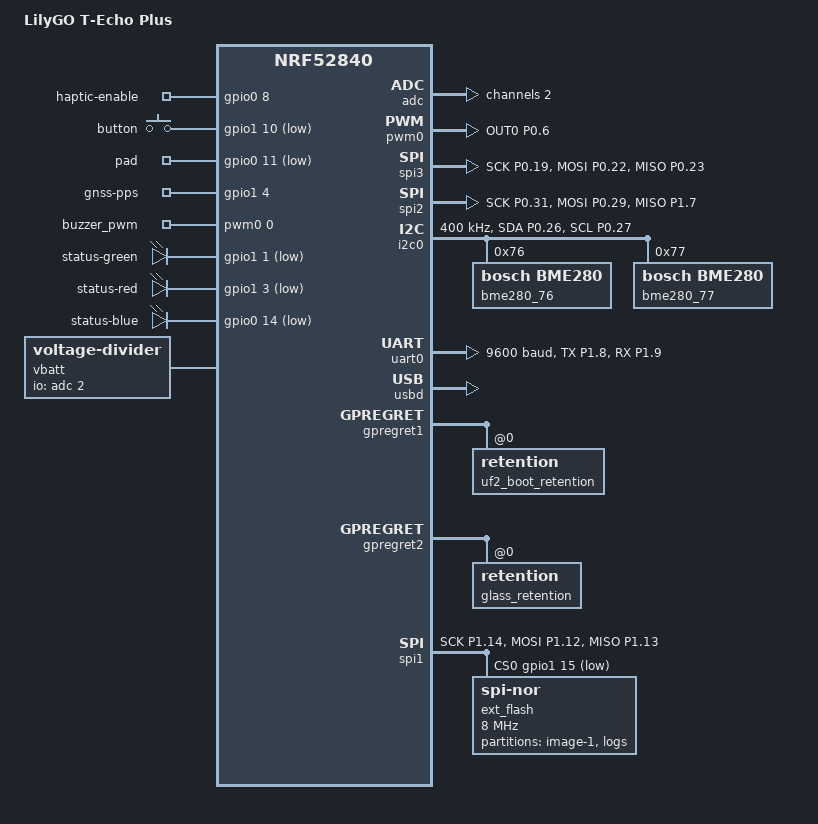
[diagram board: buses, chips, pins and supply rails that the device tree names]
/dts-v1/;
#include <nordic/nrf52840_qiaa.dtsi>
#include <zephyr/dt-bindings/adc/adc.h>
#include <zephyr/dt-bindings/adc/nrf-saadc.h>
#include <zephyr/dt-bindings/gpio/gpio.h>
#include <zephyr/dt-bindings/i2c/i2c.h>
#include <zephyr/dt-bindings/regulator/nrf5x.h>


/ {
	model = "LilyGO T-Echo Plus";
	compatible = "lilygo,t-echo-plus";

	chosen {
		zephyr,sram = &sram0;
		zephyr,flash = &flash0;
		zephyr,code-partition = &slot0_partition;
		zephyr,console = &cdc_acm_uart0;
		zephyr,shell-uart = &cdc_acm_uart0;
	};

	aliases {
		radio-spi = &spi3;
		epd-spi = &spi2;
		gnss-uart = &uart0;
		sensor-i2c = &i2c0;
		buzzer = &buzzer_pwm;
		haptic-enable = &haptic_enable_gpio;
		button = &button_gpio;
		pad = &pad_gpio;
		gnss-pps = &gnss_pps_gpio;
		led-green = &led_green;
		led-red = &led_red;
		led-blue = &led_blue;
		gnss-enable = &gnss_enable_gpio;
		gnss-reset = &gnss_reset_gpio;
		peripheral-rail = &peripheral_rail_gpio;
		aux-rail = &aux_rail_gpio;
		flash-wp = &flash_wp_gpio;
		flash-hold = &flash_hold_gpio;
		radio-reset = &radio_reset_gpio;
		watchdog0 = &wdt0;
	};

	board_gpios {
		compatible = "gpio-keys";

		/* Plus-only haptic driver enable (P0.08). */
		haptic_enable_gpio: haptic_enable {
			gpios = <&gpio0 8 GPIO_ACTIVE_HIGH>;
			label = "haptic-enable";
		};

		/* Main button (P1.10), active-low with a pull-up. */
		button_gpio: button {
			gpios = <&gpio1 10 (GPIO_ACTIVE_LOW | GPIO_PULL_UP)>;
			label = "button";
		};

		/* Capacitive touch pad (P0.11), external pull-up, touched reads low.
		 * SoftRF iomap/LilyGO_TEcho.h:68 names the pin and nRF52.cpp:4937
		 * reads it as a plain input; nobody has read it on our own unit. Held
		 * through a two-second press it makes the power-off a stow, and that
		 * is the whole of what it can do. */
		pad_gpio: pad {
			gpios = <&gpio0 11 GPIO_ACTIVE_LOW>;
			label = "pad";
		};

		/* L76K 1 PPS (P1.04): the slot clock's only hardware anchor. */
		gnss_pps_gpio: gnss_pps {
			gpios = <&gpio1 4 GPIO_ACTIVE_HIGH>;
			label = "gnss-pps";
		};
	};

	/*
	 * Every pin that switches power or holds a part in reset, in one place, so
	 * board.c and the shutdown path read the same numbers.
	 *
	 * `status = "disabled"` is load-bearing and not a mistake: this node is a
	 * pin map, never a device. The gpio-keys binding is borrowed because it is
	 * the one upstream binding that declares a plain `gpios` property, and its
	 * driver (CONFIG_INPUT_GPIO_KEYS) walks DT_INST_FOREACH_STATUS_OKAY. Left
	 * enabled, the day a product turns CONFIG_INPUT on, that driver would
	 * reconfigure a rail enable as an interrupt input at POST_KERNEL and the
	 * board would switch its own peripherals off while booting. Disabled, the
	 * DT_NODELABEL/GPIO_DT_SPEC macros still resolve and no driver ever binds.
	 */
	board_power_gpios {
		compatible = "gpio-keys";
		status = "disabled";

		/* PIN_POWER_EN (P0.12): e-paper, external flash, GNSS and the sensor
		 * bus on REV_2 and the Plus. SoftRF iomap/LilyGO_TEcho.h:80-81. */
		peripheral_rail_gpio: peripheral_rail {
			gpios = <&gpio0 12 GPIO_ACTIVE_HIGH>;
			label = "peripheral-rail";
		};

		/* P0.13, the REV_2 RF rail (SoftRF iomap/LilyGO_TEcho.h:82-83). Both
		 * SoftRF and the moshe-braner fork leave this pin alone on REV_2 - they
		 * never raise it, so they have nothing to drop. We raise it, so we own
		 * dropping it. */
		aux_rail_gpio: aux_rail {
			gpios = <&gpio0 13 GPIO_ACTIVE_HIGH>;
			label = "aux-rail";
		};

		/* Flash WP# (IO2) and HOLD# (IO3) in single-line mode: real inputs, and
		 * a floating one write-protects the chip or stalls a transfer. */
		flash_wp_gpio: flash_wp {
			gpios = <&gpio0 7 GPIO_ACTIVE_HIGH>;
			label = "flash-wp";
		};

		flash_hold_gpio: flash_hold {
			gpios = <&gpio0 5 GPIO_ACTIVE_HIGH>;
			label = "flash-hold";
		};

		/* L76K wake (P1.02) and active-low reset (P1.05). SoftRF drives both
		 * high for the Plus (platform/nRF52.cpp:1589-1593); meshcore's
		 * lilygo_techo variant.h:139-140 has the same pins with
		 * PIN_GPS_RESET_ACTIVE=LOW. */
		gnss_enable_gpio: gnss_enable {
			gpios = <&gpio1 2 GPIO_ACTIVE_HIGH>;
			label = "gnss-enable";
		};

		gnss_reset_gpio: gnss_reset {
			gpios = <&gpio1 5 GPIO_ACTIVE_LOW>;
			label = "gnss-reset";
		};

		/* SX1262 NRESET (P0.25). The radio driver drives it through io::Gpio
		 * with a flat pin number from pins.h; it is named here because the
		 * shutdown path is the one other caller and it has no board header. */
		radio_reset_gpio: radio_reset {
			gpios = <&gpio0 25 GPIO_ACTIVE_LOW>;
			label = "radio-reset";
		};
	};

	/*
	 * The pins board.c has to ask a question BEFORE any bus driver claims them,
	 * and the only place on this SoC where that is possible: the e-paper's
	 * fingerprint needs its single data line reversed (the SPIM owns MOSI and SCK
	 * from POST_KERNEL onwards, and this board's SPI MISO is a placeholder), and
	 * the buzzer pin has to be read high-Z against a pull-up before the PWM
	 * peripheral starts driving it.
	 *
	 * `status = "disabled"` for the same load-bearing reason as board_power_gpios
	 * above: this is a pin map, never a device.
	 */
	board_probe_gpios {
		compatible = "gpio-keys";
		status = "disabled";

		/* SSD1681 control lines. DC and RST are plain GPIOs in normal
		 * operation too; MOSI and SCK are bit-banged for the fingerprint read
		 * and belong to spi2's pinctrl for everything else. */
		epd_dc_gpio: epd_dc {
			gpios = <&gpio0 28 GPIO_ACTIVE_HIGH>;
			label = "epd-dc";
		};

		epd_reset_gpio: epd_reset {
			gpios = <&gpio0 2 GPIO_ACTIVE_HIGH>;
			label = "epd-reset";
		};

		epd_busy_gpio: epd_busy {
			gpios = <&gpio0 3 GPIO_ACTIVE_HIGH>;
			label = "epd-busy";
		};

		epd_mosi_gpio: epd_mosi {
			gpios = <&gpio0 29 GPIO_ACTIVE_HIGH>;
			label = "epd-mosi";
		};

		epd_sck_gpio: epd_sck {
			gpios = <&gpio0 31 GPIO_ACTIVE_HIGH>;
			label = "epd-sck";
		};

		/* The same P0.06 the buzzer PWM drives. Read once, before pwm0 binds. */
		buzzer_sense_gpio: buzzer_sense {
			gpios = <&gpio0 6 GPIO_ACTIVE_HIGH>;
			label = "buzzer-sense";
		};
	};

	/*
	 * The part control lines the drivers drive themselves, through io::Gpio and a
	 * flat pin number rather than a gpio_dt_spec. They are named here so that the
	 * board says the whole of its wiring, and so the static_assert block at the
	 * foot of pins.h can hold the two copies of these three numbers together.
	 *
	 * `status = "disabled"` for the same load-bearing reason as the two nodes
	 * above: a pin map, never a device.
	 *
	 * One pin is deliberately not here, because nothing drives it and a node is a
	 * claim that something might: P0.18, the button LilyGO labels reset. It is the
	 * SoC's nRESET and cannot be read at all: the factory UF2 bootloader is built
	 * with CONFIG_GPIO_AS_PINRESET (Adafruit_nRF52_Bootloader Makefile:354), so its
	 * SystemInit writes UICR->PSELRESET = 18 and resets whenever that word is not
	 * already programmed (nrfx mdk system_nrf52.c:341-355). Erasing the UICR over
	 * SWD buys one boot. Meshtastic's variants/nrf52840/t-echo/variant.h:63 calls
	 * it a regular GPIO, and their own bootloader fork sets the same flag
	 * (Makefile:254); do not copy that. A second is P0.21, which LilyGO's README
	 * pin table wires to the SX1262's DIO3: the part drives that line itself to
	 * power its TCXO (hardware/parts/sx1262/sx1262.cpp:89-96), so the SoC end
	 * stays an input. meshcore's variant.cpp:30-31 drives it high; do not copy that.
	 */
	board_part_gpios {
		compatible = "gpio-keys";
		status = "disabled";

		/* SX1262 BUSY (P0.17). High while the part is working, which is what
		 * wait_busy_low() spins on before every command. */
		radio_busy_gpio: radio_busy {
			gpios = <&gpio0 17 GPIO_ACTIVE_HIGH>;
			label = "radio-busy";
		};

		/* SX1262 DIO1 (P0.20), the radio's one interrupt line. Read as a level:
		 * a dwell is driven by a deadline, not by an edge. */
		radio_dio1_gpio: radio_dio1 {
			gpios = <&gpio0 20 GPIO_ACTIVE_HIGH>;
			label = "radio-dio1";
		};

		/* P1.11 is the e-paper's front light (SoftRF iomap/LilyGO_TEcho.h:78
		 * SOC_GPIO_PIN_EPD_BLGT), not a panel enable: nothing raises it at boot and
		 * the glass refreshes all the same. */
		epd_backlight_gpio: epd_backlight {
			gpios = <&gpio1 11 GPIO_ACTIVE_HIGH>;
			label = "epd-backlight";
		};
	};

	pwmleds {
		compatible = "pwm-leds";
		buzzer_pwm: buzzer_pwm {
			pwms = <&pwm0 0 PWM_HZ(2000) PWM_POLARITY_NORMAL>;
		};
	};

	/*
	 * The RGB status LEDs. Until now the only `pwmleds` node on this board was
	 * the buzzer and nothing named an LED anywhere, which meant an off device and
	 * a running device looked identical: e-paper holds its last image with the
	 * rails down, which is why the wordmark is painted before power off. What
	 * each state looks like is one table, core/indication/lamp.h.
	 *
	 * REV_2 / Plus map, active-low, and NOT the map on the older T-Echo, which is
	 * the trap here. SoftRF platform/iomap/LilyGO_TEcho.h:22-24 gives REV_2 GREEN
	 * P1.01, RED P1.03, BLUE P0.14, and platform/nRF52.cpp:1595-1601 applies
	 * exactly those three under the one case label that covers
	 * NRF52_LILYGO_TECHO_REV_2 and NRF52_LILYGO_TECHO_PLUS. nrf52-ogn-tracker
	 * variants/t_echo/variant.h:20-24 independently gives 35u = P1.03, commented
	 * "red LED on common T-Echo rev2 boards", with LED_STATE_ON 0.
	 *
	 * meshcore variants/lilygo_techo/variant.h:77-79 disagrees: 13 / 14 / 15. That
	 * is SoftRF's REV_1 map (iomap:19-21), so that variant targets the older board
	 * - and P0.13 is this board's aux 3V3 rail (aux_rail above, iomap:82-83), so
	 * the two cannot both be true of a Plus. Every other pin on this board is
	 * already the REV_2 map, which is the tie-break.
	 *
	 * Unread on our own unit, but LilyGO's README pin table gives exactly these
	 * three (Red P1.3, Blue P0.14, Green P1.1), so the map is vendor-documented
	 * and not SoftRF's alone. If a bench says otherwise, these three numbers are the
	 * only place to change - nothing above the board knows a pin.
	 *
	 * LED_STATE_ON is LOW on every nRF52 T-Echo in both references (SoftRF
	 * platform/nRF52.h:53, nrf52-ogn-tracker variants/t_echo/variant.h:23), which
	 * is the GPIO_ACTIVE_LOW below, and why the way down releases these lines
	 * instead of leaving them driven into a rail that has gone (hal/indicator.h
	 * park()).
	 *
	 * `gpio-leds`, NOT the disabled `gpio-keys` trick that board_power_gpios,
	 * board_probe_gpios and board_part_gpios above use, and the difference is
	 * worth stating because the
	 * two look interchangeable. That trick exists because there is no upstream
	 * binding for "a list of pins that is not a device", so gpio-keys is borrowed
	 * and then disabled to keep CONFIG_INPUT_GPIO_KEYS from binding a rail enable
	 * as an interrupt input. Here there IS an exact upstream binding and these ARE
	 * LEDs, so the node is left enabled: with no CONFIG_LED_GPIO in the image
	 * nothing binds and GPIO_DT_SPEC_GET_OR still resolves, and if some later
	 * product does enable the LED subsystem, led_gpio_init configures each pin
	 * GPIO_OUTPUT_INACTIVE, which on an active-low LED is off. Either way the
	 * board does not switch anything on behind our back, which is the property the
	 * disabled nodes above had to buy the hard way.
	 *
	 * These sit on the P0.12 peripheral rail - SoftRF's comment on that pin reads
	 * "Power: EINK, RGB, CN1" - so they go dark on their own when the rail drops.
	 * That is not licence to leave them driven: see hal/indicator.h park().
	 */
	leds {
		compatible = "gpio-leds";

		led_green: led_green {
			gpios = <&gpio1 1 GPIO_ACTIVE_LOW>;
			label = "status-green";
		};

		led_red: led_red {
			gpios = <&gpio1 3 GPIO_ACTIVE_LOW>;
			label = "status-red";
		};

		led_blue: led_blue {
			gpios = <&gpio0 14 GPIO_ACTIVE_LOW>;
			label = "status-blue";
		};
	};

	/*
	 * Battery sense: the pack sits behind a 100K + 100K divider on P0.04
	 * (AIN2), so the ADC sees half the cell voltage. Ratio lives here, not in
	 * code: it is a fact about the board, and the divider driver scales the
	 * reading back with it.
	 * sources: SoftRF platform/nRF52.h SOC_GPIO_PIN_BATTERY = P0.04 with
	 * SOC_ADC_VOLTAGE_DIV 2.0, and Meshtastic's t-echo variant (same net).
	 */
	vbatt: vbatt {
		compatible = "voltage-divider";
		io-channels = <&adc 2>;
		output-ohms = <100000>;
		full-ohms = <200000>;
	};
};

/*
 * SAADC for the battery divider. 0.6 V internal reference at gain 1/6 gives a
 * 3.6 V full scale, against the 2.1 V the divider presents at full charge; 40 us
 * of acquisition is what a 100K source impedance needs to settle.
 */
&adc {
	status = "okay";
	#address-cells = <1>;
	#size-cells = <0>;

	channel@2 {
		reg = <2>;
		zephyr,gain = "ADC_GAIN_1_6";
		zephyr,reference = "ADC_REF_INTERNAL";
		zephyr,acquisition-time = <ADC_ACQ_TIME(ADC_ACQ_TIME_MICROSECONDS, 40)>;
		zephyr,input-positive = <NRF_SAADC_AIN2>;
		zephyr,resolution = <12>;
	};
};

&pinctrl {
	/* Radio SPI (SX1262): SCK P0.19, MOSI P0.22, MISO P0.23. Confirmed. */
	spi3_default: spi3_default {
		group1 {
			psels = <NRF_PSEL(SPIM_SCK, 0, 19)>,
				<NRF_PSEL(SPIM_MOSI, 0, 22)>,
				<NRF_PSEL(SPIM_MISO, 0, 23)>;
		};
	};
	spi3_sleep: spi3_sleep {
		group1 {
			psels = <NRF_PSEL(SPIM_SCK, 0, 19)>,
				<NRF_PSEL(SPIM_MOSI, 0, 22)>,
				<NRF_PSEL(SPIM_MISO, 0, 23)>;
			low-power-enable;
		};
	};

	/*
	 * E-paper SPI (SSD1681): SCK P0.31, MOSI P0.29, MISO P1.07.
	 *
	 * P1.07 is a placeholder MISO: the panel is write-only. It is P1.07 and
	 * not P0.07 on purpose: P0.07 belongs to the external flash (IO2/WP#, see
	 * board.c), and Meshtastic's t-echo-plus variant.h:113 picks P1.07 for the
	 * same reason.
	 */
	spi2_default: spi2_default {
		group1 {
			psels = <NRF_PSEL(SPIM_SCK, 0, 31)>,
				<NRF_PSEL(SPIM_MOSI, 0, 29)>,
				<NRF_PSEL(SPIM_MISO, 1, 7)>;
		};
	};
	spi2_sleep: spi2_sleep {
		group1 {
			psels = <NRF_PSEL(SPIM_SCK, 0, 31)>,
				<NRF_PSEL(SPIM_MOSI, 0, 29)>,
				<NRF_PSEL(SPIM_MISO, 1, 7)>;
			low-power-enable;
		};
	};

	/* External flash, on SPIM1 rather than the QSPI peripheral - see the node
	 * below for why. Same six lines as the QSPI wiring:
	 *   SCK P1.14  CS P1.15  IO0/MOSI P1.12  IO1/MISO P1.13  IO2 P0.07  IO3 P0.05
	 * IO2/IO3 are WP# and HOLD# in single-line mode and are driven high by
	 * board.c, not by pinctrl, because they must be high before MCUboot's flash
	 * driver runs.
	 * sources: Meshtastic t-echo-plus variant.h:70-75, nrf52-ogn-tracker
	 * variants/t_echo/variant.h:56-61, and SoftRF iomap/LilyGO_TEcho.h:88-93.
	 */
	spi1_default: spi1_default {
		group1 {
			psels = <NRF_PSEL(SPIM_SCK, 1, 14)>,
				<NRF_PSEL(SPIM_MOSI, 1, 12)>,
				<NRF_PSEL(SPIM_MISO, 1, 13)>;
		};
	};
	spi1_sleep: spi1_sleep {
		group1 {
			psels = <NRF_PSEL(SPIM_SCK, 1, 14)>,
				<NRF_PSEL(SPIM_MOSI, 1, 12)>,
				<NRF_PSEL(SPIM_MISO, 1, 13)>;
			low-power-enable;
		};
	};

	/* GNSS UART (L76K): nRF TX P1.08 -> GPS RX, nRF RX P1.09 <- GPS TX. Confirmed. */
	uart0_default: uart0_default {
		group1 {
			psels = <NRF_PSEL(UART_TX, 1, 8)>;
		};
		group2 {
			psels = <NRF_PSEL(UART_RX, 1, 9)>;
			bias-pull-up;
		};
	};
	uart0_sleep: uart0_sleep {
		group1 {
			psels = <NRF_PSEL(UART_TX, 1, 8)>, <NRF_PSEL(UART_RX, 1, 9)>;
			low-power-enable;
		};
	};

	/* Sensor I2C (BME280 @ 0x76): SDA P0.26, SCL P0.27.
	 * TWIM0 shares its peripheral ID with SPIM0/SPIS0, which this board does
	 * not use (the radio is on spi3, the panel on spi2), so i2c0 is free. */
	i2c0_default: i2c0_default {
		group1 {
			psels = <NRF_PSEL(TWIM_SDA, 0, 26)>, <NRF_PSEL(TWIM_SCL, 0, 27)>;
		};
	};
	i2c0_sleep: i2c0_sleep {
		group1 {
			psels = <NRF_PSEL(TWIM_SDA, 0, 26)>, <NRF_PSEL(TWIM_SCL, 0, 27)>;
			low-power-enable;
		};
	};

	/* Buzzer PWM on P0.06 (Meshtastic t-echo-plus PIN_BUZZER). Plus-only. */
	pwm0_default: pwm0_default {
		group1 {
			psels = <NRF_PSEL(PWM_OUT0, 0, 6)>;
		};
	};
	pwm0_sleep: pwm0_sleep {
		group1 {
			psels = <NRF_PSEL(PWM_OUT0, 0, 6)>;
			low-power-enable;
		};
	};
};

&gpio0 { status = "okay"; };
&gpio1 { status = "okay"; };
&gpiote { status = "okay"; };

&pwm0 {
	status = "okay";
	pinctrl-0 = <&pwm0_default>;
	pinctrl-1 = <&pwm0_sleep>;
	pinctrl-names = "default", "sleep";
};

&spi3 {
	compatible = "nordic,nrf-spim";
	status = "okay";
	pinctrl-0 = <&spi3_default>;
	pinctrl-1 = <&spi3_sleep>;
	pinctrl-names = "default", "sleep";
	/* CS driven manually by the SX1262 driver (io::Spi::select) on P0.24. */
	cs-gpios = <&gpio0 24 GPIO_ACTIVE_LOW>;
};

&spi2 {
	compatible = "nordic,nrf-spim";
	status = "okay";
	pinctrl-0 = <&spi2_default>;
	pinctrl-1 = <&spi2_sleep>;
	pinctrl-names = "default", "sleep";
	/* CS driven manually by the SSD1681 driver on P0.30. */
	cs-gpios = <&gpio0 30 GPIO_ACTIVE_LOW>;
};

/* Sensor I2C. Nothing on this bus is guaranteed to be fitted.
 *
 * The BME280 is "optional, selected" in our BOM, AND its address is disputed:
 * Our BOM says 0x76, LilyGO's own README I2C table and SoftRF's
 * platform/nRF52.h both say 0x77. Nobody has checked a unit. So BOTH are
 * declared: Zephyr's driver verifies the chip id at init, the absent one simply
 * never becomes ready, and the application takes whichever answered. Two device
 * instances cost a few hundred bytes and buy one image that boots on either
 * variant instead of silently having no barometer on half of them.
 *
 * The IMU header (0x28 BHI260AP / 0x68 ICM-20948) is not declared, for the same
 * reason the DRV2605 below is not: Zephyr has no driver for a sensor hub that is
 * booted from a host image, so we drive it with our own part
 * (hardware/parts/bhi260/) and let the bus scan say whether it is fitted.
 *
 * Nor is the DRV2605 haptic driver at 0x5A, and that is not an omission: we DO
 * drive it, with our own part under hardware/parts/drv2605/, because a haptic
 * pulse is two register writes and a wait, and Zephyr has no haptic subsystem to
 * put it behind. It is found by the bus scan, not declared here, for the reason
 * the barometer is declared twice: what is fitted on this footprint is a
 * procurement question the device answers about itself.
 *
 * Nor is the PCF8563 RTC at 0x51 that project/2-DEVICES.md:73 records as fitted,
 * and that IS a decision. Zephyr has an `nxp,pcf8563` driver, so adding it is a
 * node and CONFIG_RTC. It is deferred, on three findings:
 *
 *  1. Time across a POWER CYCLE needs the part powered across the power cycle.
 *    P0.12 gates this bus (see board_power_gpios above: "REV_2: FLASH, GNSS,
 *    SENSOR"), and dropping that rail on the way down is the whole point of the
 *    shutdown work. There is no coin cell on this board and the PCF8563 has one
 *    supply pin, so as fitted it cannot keep time through the state a flight log
 *    would want it for. Confirming that needs the schematic, which is not in
 *    project/reference/.
 *  2. Neither reference reads it. SoftRF sets the RTC from GNSS
 *    (platform/nRF52.cpp:2638) and never reads it back on the nRF52; it is a
 *    PASS line on a self-test page and nothing else.
 *  3. Our log record already says "no UTC" honestly: core/flight/log_record.h
 *    carries kLogFlagUtcValid per record, so a pre-fix record is representable
 *    without inventing a clock.
 *
 * What flips it: a schematic showing 0x51 fed from the ungated 3V3, plus a
 * reader in the flight log. Then the node, `nxp,pcf8563`, CONFIG_RTC in the
 * board defconfig, and a capability nothing is allowed to depend on. Until then
 * the bus scan reports 0x51 on the self-test page, so the device answers the
 * presence question itself rather than a table doing it for us.
 */
&i2c0 {
	compatible = "nordic,nrf-twim";
	status = "okay";
	pinctrl-0 = <&i2c0_default>;
	pinctrl-1 = <&i2c0_sleep>;
	pinctrl-names = "default", "sleep";
	/* Fast mode, for the 101 KB the BHI260AP is booted from at every power-up:
	 * at 100 kHz one 240-byte chunk is 22 ms, which is longer than the service
	 * loop's own pass. Every part on this bus is rated for 400 kHz. */
	clock-frequency = <I2C_BITRATE_FAST>;

	bme280_76: bme280@76 {
		compatible = "bosch,bme280";
		reg = <0x76>;
		status = "okay";
	};

	bme280_77: bme280@77 {
		compatible = "bosch,bme280";
		reg = <0x77>;
		status = "okay";
	};
};

&uart0 {
	compatible = "nordic,nrf-uarte";
	status = "okay";
	current-speed = <9600>;
	pinctrl-0 = <&uart0_default>;
	pinctrl-1 = <&uart0_sleep>;
	pinctrl-names = "default", "sleep";
};

/* USB CDC ACM = console/log + a wired MCUmgr DFU transport.
 *
 * The `zephyr_udc0` label is REQUIRED, not decoration: the USB device next
 * stack's CDC ACM serial helper does USBD_DEVICE_DEFINE(...,
 * DEVICE_DT_GET(DT_NODELABEL(zephyr_udc0)), ...), so without this label the
 * console does not build. Same idiom as the upstream nRF52840 board files.
 */
zephyr_udc0: &usbd {
	status = "okay";
	cdc_acm_uart0: cdc_acm_uart0 {
		compatible = "zephyr,cdc-acm-uart";
	};
};

/*
 * GPREGRET is a hardware-retained byte that survives a warm reset. The factory
 * Adafruit bootloader reads it on every boot and enters USB mass-storage DFU
 * when it holds 0x57 (DFU_MAGIC_UF2_RESET, Adafruit_nRF52_Bootloader
 * src/main.cpp:109). Exposing it as a Zephyr `retention` area is how the
 * application asks to be rebooted into drag-and-drop mode without touching a
 * register directly. Same shape ZMK uses (app/dts/common/nordic/
 * nrf52840_uf2_boot_mode.dtsi).
 *
 * No `prefix` and no `checksum` on purpose: the binding defaults both off
 * (dts/bindings/retention/zephyr,retention.yaml), so a one-byte
 * retention_write() puts exactly 0x57 in the register, which is what the
 * bootloader compares against.
 */
/*
 * The SoC's own REG1 DC-DC converter instead of the LDO the SoC resets into
 * (nrf52840.dtsi gives reg1 regulator-initial-mode = NRF5X_REG_MODE_LDO). It is
 * a statement about THIS BOARD and not about the product: DC-DC needs the
 * inductor on DCC/DEC4 to be fitted, and an nRF52840 switched to it without one
 * does not regulate.
 *
 * The evidence that it is fitted is meshcore's shipped firmware for this exact
 * board - variants/lilygo_techo/TechoBoard.h:16 derives TechoBoard from
 * NRF52BoardDCDC, whose begin() writes NRF_POWER->DCDCEN = 1
 * (src/helpers/NRF52Board.cpp:227-238). The T-Echo schematic is NOT in
 * project/reference/, so this is a second-source claim and the bench measurement
 * is what closes it.
 *
 * Devicetree and not Kconfig, and no driver is involved: soc/nordic/nrf52/soc.c
 * :35-38 reads THIS PROPERTY at compile time and calls nrf_power_dcdcen_set()
 * during SoC init. CONFIG_SOC_DCDC_NRF52X still reaches the same line but is
 * deprecated, and its help text names this node property as the replacement
 * (soc/nordic/nrf52/Kconfig:37-49). CONFIG_BOARD_ENABLE_DCDC, which most
 * out-of-tree nRF52 boards still carry, does not exist unless the board itself
 * defines it, and assigning an undefined symbol is the Kconfig warning that
 * failed this build the first time.
 */
&reg1 {
	regulator-initial-mode = <NRF5X_REG_MODE_DCDC>;
};

&gpregret1 {
	uf2_boot_retention: retention@0 {
		compatible = "zephyr,retention";
		status = "okay";
		reg = <0x0 0x1>;
	};
};

/*
 * The second retention byte, and it is the application's alone: the factory
 * bootloader reads GPREGRET and never this one. It survives SYSTEM OFF, which is
 * the whole reason it is used - it carries what the e-paper is wearing while the
 * rails are down, so a refused boot knows whether it owes the glass a frame, and
 * whether the unit last went dark on a flat cell, so the boot that runs can say
 * so (core/power/README.md).
 */
&gpregret2 {
	glass_retention: retention@0 {
		compatible = "zephyr,retention";
		status = "okay";
		reg = <0x0 0x1>;
	};
};

/*
 * Internal 1 MB flash. The factory Adafruit UF2 bootloader owns both ends and
 * we never write either: MBR + SoftDevice below 0x26000, bootloader + MBR
 * params + settings from 0xF4000. MCUboot is chain-loaded as the "application"
 * the UF2 bootloader starts.
 *
 * The drag-and-drop write window is USER_FLASH_START..USER_FLASH_END =
 * 0x1000..0xEA000 (Adafruit_nRF52_Bootloader src/usb/uf2/uf2cfg.h:25-26 with
 * DFU_APP_DATA_RESERVED = 10*4096, Makefile:139). Everything a .uf2 must carry
 * (MCUboot and slot0) therefore lives strictly below 0xEA000, and NVS lives
 * above it inside the 40 KB the bootloader reserves for application data.
 *
 * The secondary slot is NOT here: it is on the external SPI NOR part (&ext_flash
 * below), which is what buys slot0 its full 728 KB.
 */
&flash0 {
	partitions {
		compatible = "fixed-partitions";
		#address-cells = <1>;
		#size-cells = <1>;

		/* MBR (4 KB) + SoftDevice S140 6.1.1 (148 KB). Factory-programmed,
		 * never linked against, never enabled: Zephyr's own BLE controller
		 * drives the radio. Declared only so nothing can allocate over it. */
		softdevice_partition: partition@0 {
			label = "softdevice";
			read-only;
			reg = <0x00000000 0x00026000>;
		};

		boot_partition: partition@26000 {
			label = "mcuboot";
			reg = <0x00026000 0x0000E000>;
		};

		slot0_partition: partition@34000 {
			label = "image-0";
			reg = <0x00034000 0x000B6000>;
		};

		/* 0xEA000..0xEC000 is deliberately unallocated: it is above
		 * USER_FLASH_END, so a .uf2 cannot reach it, and it keeps NVS on the
		 * same 8 KB boundary upstream uses. */

		storage_partition: partition@ec000 {
			label = "storage";
			reg = <0x000EC000 0x00008000>;
		};

		/* Adafruit bootloader (40 KB) + MBR params + bootloader settings.
		 * Factory-programmed. This is the recovery path: it is in a region
		 * the application cannot write, so a bad MCUboot is a double-tap
		 * and a drag-and-drop rather than an SWD session. */
		uf2_boot_partition: partition@f4000 {
			label = "uf2-bootloader";
			read-only;
			reg = <0x000F4000 0x0000C000>;
		};
	};
};

/*
 * On-board external 2 MiB SPI NOR flash. THE PART IS NOT FIXED.
 *
 * LilyGO's own README states it: "Flash Chip Variants: Flash will choose either
 * MX25R1635FZUIL0 or ZD25WQ16B depending on availability." There is no revision
 * or date split - you cannot tell from the board rev, the silkscreen or the
 * serial. SoftRF and nrf52-ogn-tracker both keep BOTH parts in a runtime JEDEC
 * probe table for every revision.
 *
 * That is why this is `jedec,spi-nor` with CONFIG_SPI_NOR_SFDP_RUNTIME=y and not
 * `nordic,qspi-nor`. The QSPI driver compares the devicetree `jedec-id` against
 * the chip and returns -ENODEV on mismatch (drivers/flash/nrf_qspi_nor.c), which
 * leaves the device permanently not-ready: the unit boots, flies, and - because
 * slot1 lives here - can NEVER be updated over the air, silently. The generic
 * driver compiles that check out under SFDP_RUNTIME and reads geometry, page
 * size, erase sizes and the quad-enable requirement from the chip's own SFDP
 * tables, so one image serves both parts and any future third source.
 *
 * A single image could not use quad mode anyway: the two parts differ in
 * quad-enable bit (MX25R SR1 bit 6 vs ZD25 SR2 bit 1) and in quad page-program
 * opcode (38h vs 32h), and both are compile-time devicetree properties. Plain
 * 03h READ is spec'd at 33 MHz on both, which is why `use-fast-read` is NOT set:
 * 0Bh is capped at 8 MHz on the MX25R in its default ultra-low-power mode.
 *
 * SPIM1, not SPIM3: SPIM3 is the only 32 MHz instance and the SX1262 has it.
 * SPIM1 tops out at 8 MHz, so this is ~1 MB/s against the ~4 MB/s of the old
 * 8 MHz quad setup. That does not matter - an MCUboot swap is dominated by
 * nRF52840 internal page erases (~85 ms x 182 pages is over 15 s), against which
 * the extra ~1.5 s of external transfer disappears.
 */
&spi1 {
	compatible = "nordic,nrf-spim";
	status = "okay";
	pinctrl-0 = <&spi1_default>;
	pinctrl-1 = <&spi1_sleep>;
	pinctrl-names = "default", "sleep";
	cs-gpios = <&gpio1 15 GPIO_ACTIVE_LOW>;

	ext_flash: flash@0 {
		compatible = "jedec,spi-nor";
		reg = <0>;
		/* 8 MHz is the SPIM1 ceiling and is within 03h READ spec on both parts. */
		spi-max-frequency = <8000000>;
		/* NOT read under CONFIG_SPI_NOR_SFDP_RUNTIME - the driver takes both
		 * from SFDP. Kept because the binding wants them and because they
		 * record what we EXPECT to find; they are not enforced, which is the
		 * entire point of this node. */
		jedec-id = [c2 28 15];
		/* BITS, not bytes: this binding's `size` is a bit count (upstream
		 * nrf52840dk gives its 8 MiB MX25R64 as 67108864). 16 Mbit = 2 MiB. */
		size = <16777216>;
		/* Both parts support B9h/ABh. MCUboot or a previous image may have left
		 * the chip in deep power-down, so the driver must issue the release -
		 * SoftRF sends a bare ABh before probing for the same reason. */
		has-dpd;
		t-enter-dpd = <10000>;
		t-exit-dpd = <35000>;

		partitions {
			compatible = "fixed-partitions";
			#address-cells = <1>;
			#size-cells = <1>;

			/*
			 * Secondary slot, EXACTLY THE SAME SIZE as slot0 (182 sectors
			 * of 4 KB = 0xB6000). Not one sector larger, even though
			 * mcuboot docs/design.md:296-299 calls that the most
			 * memory-efficient swap-using-offset layout.
			 *
			 * Zephyr derives imgtool's --slot-size from slot1, not slot0 -
			 * "Slot 1 size is used instead of slot 0 size"
			 * (zephyr/cmake/mcuboot.cmake:96-102). So --pad --confirm pads
			 * the image to slot1's length, and that padded image is what
			 * gets written straight into slot0 by the .uf2. Make slot1
			 * bigger and the trailer lands one sector past the end of
			 * slot0, above USER_FLASH_END, where the UF2 bootloader
			 * silently drops it. scripts/mkuf2.py caught exactly that.
			 *
			 * design.md:299 permits equal slots. The first sector of the
			 * secondary is still reserved for sector movement, so the
			 * usable image size is unchanged either way.
			 *
			 * Both slots must have the same sector size for this mode:
			 * nRF52840 page = 4096 B, and 4 KB sectors on both candidate
			 * external parts (they differ in quad config, not geometry).
			 */
			slot1_partition: partition@0 {
				label = "image-1";
				reg = <0x00000000 0x000B6000>;
			};

			/* ~1.29 MB left for flight logging. */
			log_partition: partition@b6000 {
				label = "logs";
				reg = <0x000B6000 0x0014A000>;
			};
		};
	};
};
